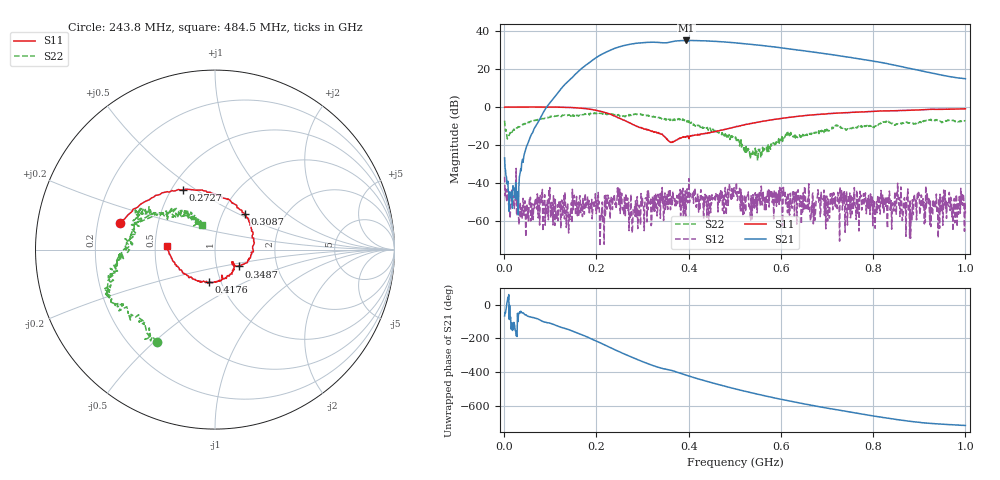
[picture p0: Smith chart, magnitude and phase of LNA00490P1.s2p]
! Created with skrf 1.9.0 (http://scikit-rf.org).
# Hz S RI R 50.0
!freq ReS11 ImS11 ReS21 ImS21 ReS12 ImS12 ReS22 ImS22
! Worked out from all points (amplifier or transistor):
!   1001 points, 1 MHz to 1 GHz, reference 50 ohm
!   highest |S21| = 34.9 dB at 394.6 MHz (marker M1)
!   |S21| within 3 dB of that: 254.5 MHz to 571.3 MHz (316.8 MHz wide, 76.7 % of centre)
!   unconditionally stable (mu >= 1): 204.9 MHz to 224.4 MHz; 248.1 MHz to 400.4 MHz; 400.8 MHz to end of sweep (the widest 3 of 47)
!   at 166.8 MHz: K = 1.98, MAG = 31.4 dB, |S12| = -54.2 dB
!   at 500.5 MHz: K = 1.52, MAG = 34.3 dB, |S12| = -43.3 dB
!   at 1 GHz: K = 9.04, MAG = 22.8 dB, |S12| = -55.8 dB
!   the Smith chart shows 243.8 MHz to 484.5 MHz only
!   S11 on the Smith chart (normalised r, x): 243.8 MHz: 0.29, +0.13; 272.7 MHz: 0.57, +0.44; 308.7 MHz: 1.27, +0.55; 348.7 MHz: 1.28, -0.25; 417.6 MHz: 0.88, -0.33; 484.5 MHz: 0.58, +0.03
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1000000  0.9854 0.0137  0.0181 -0.0422  -0.0146 0.00237  0.3416 0.2763
1.08892e8  0.521 -0.8488  -0.8731 -1.578  -0.000313 -0.00114  0.4221 -0.3749
1.67833e8  -0.2318 -0.8987  -10.25 -0.3546  -0.000658 -0.0029  0.0347 -0.6435
2.09791e8  -0.6642 -0.3831  -15.61 17.56  0.00147 -0.000206  -0.2134 -0.6424
2.26774e8  -0.6633 -0.092  -9.918 28.08  -0.000331 0.00414  -0.2985 -0.5703
2.43757e8  -0.5302 0.1502  1.574 36.09  -0.00205 -0.00185  -0.3256 -0.5145
2.72728e8  -0.1803 0.332  27.07 35.34  -0.000148 -0.00125  -0.5425 -0.3009
3.08692e8  0.1663 0.2008  48.5 10.7  -0.00111 0.00396  -0.5696 -0.1446
3.34666e8  0.2014 -0.0155  48.37 -10.75  0.00149 -0.00269  -0.5339 -0.0311
3.48652e8  0.1341 -0.094  44.8 -18.22  0.00214 0.00514  -0.4962 0.00286
3.71629e8  0.1045 -0.0826  42.32 -33.17  0.00168 0.00333  -0.4284 0.1849
3.94606e8  0.0646 -0.1523  28.71 -47.86  0.00313 0.000888  -0.3852 0.2025
4.17583e8  -0.0337 -0.1811  10.99 -54.09  0.00284 0.00268  -0.2609 0.2006
4.49551e8  -0.1731 -0.1354  -12.46 -51.88  -0.00149 0.0025  -0.1323 0.1739
4.84516e8  -0.2683 0.0207  -31.55 -39.31  0.00684 -0.00121  -0.0712 0.1359
5.005e8  -0.2778 0.1054  -37.29 -31.2  0.00539 -0.00424  -0.0936 0.1166
5.4046e8  -0.2264 0.3065  -42.1 -10.19  0.00221 0.000727  -0.0679 0.025
5.88412e8  -0.0455 0.4746  -35.94 10.1  0.00269 -0.00177  -0.0861 -0.059
6.67333e8  0.3272 0.5256  -14.46 23.77  -0.00162 -0.000559  -0.2038 -0.0451
7.53247e8  0.6301 0.3566  3.548 19.43  0.00033 -0.00277  -0.2712 0.0172
8.34166e8  0.7848 0.1274  9.62 9.421  0.00281 0.000945  -0.3926 0.054
1e9  0.8024 -0.4044  5.541 0.2028  2.58e-05 -0.00163  -0.2132 0.3792
